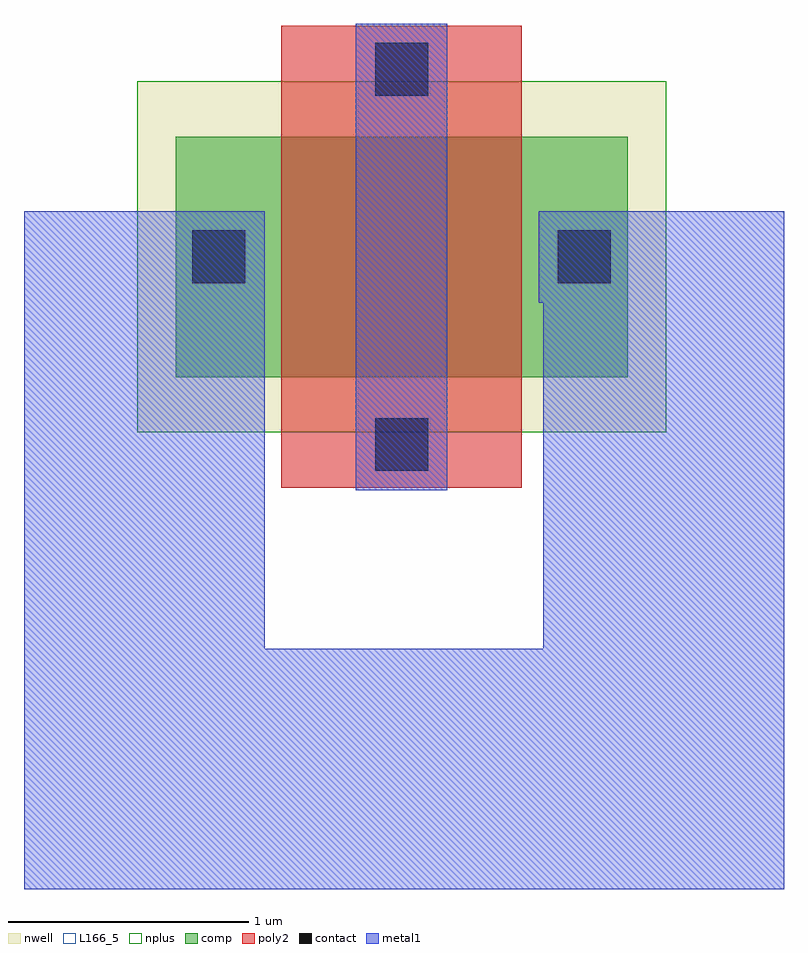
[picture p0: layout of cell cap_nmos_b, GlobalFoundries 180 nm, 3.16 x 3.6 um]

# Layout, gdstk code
import gdstk
lib = gdstk.Library(unit=1e-6, precision=1e-09)
def R(c, l, rs):  # rectangles x0, y0, x1, y1
    for r in rs: c.add(gdstk.rectangle(r[:2], r[2:], *l))
def P(c, l, *ps):  # polygons
    for p in ps: c.add(gdstk.Polygon(p, *l))
nwell = (21, 0)
comp = (22, 0)
poly2 = (30, 0)
nplus = (32, 0)
contact = (33, 0)
metal1 = (34, 0)
L166_5 = (166, 5)

cap_nmos_b = lib.new_cell('cap_nmos_b')
R(cap_nmos_b, nwell, [(-0.16,-0.23,2.04,1.23)])
R(cap_nmos_b, comp, [(0,0,1.88,1)])
R(cap_nmos_b, poly2, [(0.44,-0.46,1.44,1.46)])
R(cap_nmos_b, nplus, [(-0.16,-0.23,2.04,1.23)])
R(cap_nmos_b, contact, [(0.83,-0.39,1.05,-0.17), (0.07,0.39,0.29,0.61), (1.59,0.39,1.81,0.61), (0.83,1.17,1.05,1.39)])
R(cap_nmos_b, metal1, [(0.75,-0.47,1.13,1.47)])
P(cap_nmos_b, metal1, [(-0.63,-2.13),(-0.63,0.69),(0.37,0.69),(0.37,-1.13),(1.53,-1.13),(1.53,0.31),(1.51,0.31),(1.51,0.69),(2.53,0.69),(2.53,-2.13)])
R(cap_nmos_b, L166_5, [(0,0,1.88,1)])

lib.write_gds('cap_nmos_b.gds')
